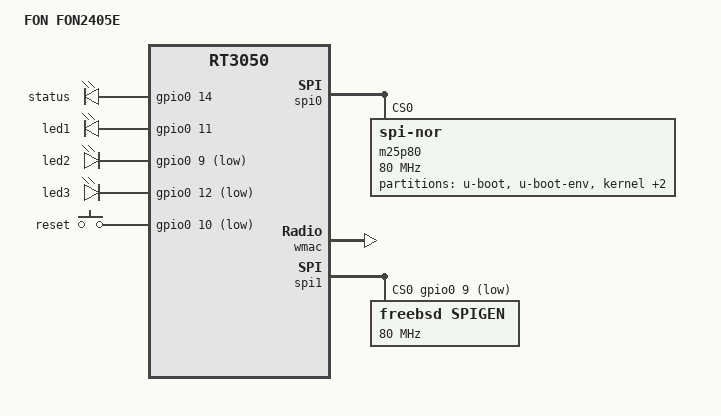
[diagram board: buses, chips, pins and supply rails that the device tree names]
/dts-v1/;

#include <dt-bindings/gpio/tegra-gpio.h>
//#include "rt3050.dtsi"
#include "fbsd-rt3050.dtsi"

/ {
	compatible = "FON2405E", "ralink,rt3050-soc";
	model = "FON FON2405E";

	gpio-leds {
		compatible = "gpio-leds";

		status {
			label = "status";
			gpios = <&gpio0 14 0>;
		};

		led1 {
			label = "led1";
			gpios = <&gpio0 11 0>;
		};

		led2 {
			label = "led2";
			gpios = <&gpio0 9 1>;
		};

		led3 {
			label = "led3";
			gpios = <&gpio0 12 1>;
		};

	};
	gpio-keys-polled {
		compatible = "gpio-keys-polled";
		#address-cells = <1>;
		#size-cells = <0>;
		poll-interval = <20>;

		reset {
			label = "reset";
			gpios = <&gpio0 10 1>;
			linux,code = <0x198>;
		};

	};
};

&spi0 {
	status = "okay";

	m25p80@0 {
		#address-cells = <1>;
		#size-cells = <1>;
		compatible = "jedec,spi-nor";
		reg = <0>;
		linux,modalias = "m25p80", "mx25l3205d";
		spi-max-frequency = <80000000>;

		partition@0 {
			label = "u-boot";
			reg = <0x0 0x10000>;
			read-only;
		};

		partition@10000 {
			label = "u-boot-env";
			reg = <0x10000 0x10000>;
			read-only;
		};

		kernel: partition@20000 {
			label = "kernel";
			reg = <0x20000 0x100000>;
		};
		rootfs: partition@100000 {
			label = "rootfs";
			reg = <0x00120000 0x006e0000>;
		};
/*
		partition@1300000 {
			compatible = "denx,uimage";
			label = "firmware";
			reg = <0x20000 0x7e0000>;
		};
*/
		partition@800000 {
			label = "upgrade";
			reg = <0x20000 0x7e0000>;
		};
	};
};

&pinctrl {
	state_default: pinctrl0 {
		gpio {
			ralink,group = "i2c", "jtag", "uartf", "rgmii", "mdio";
			ralink,function = "gpio";
		};

	};
};

&ethernet {
//	mtd-mac-address = <&factory 0x28>;
};

&esw {
	mediatek,portmap = <0x2f>;
};

&wmac {
//	ralink,mtd-eeprom = <&factory 0>;
};

/*
&otg {
	status = "okay";
};
*/

&spi1 {
	status = "okay";
	cs-gpios = <&gpio0 9 GPIO_ACTIVE_LOW>;
	non-flash;
	spigen@0 {
		compatible = "freebsd,spigen";
		reg = <0>;
		spi-max-frequency = <80000000>;	// SPICLK = 1
		status = "okay";
	};
/*
	m25p80@0 {
		#address-cells = <1>;
		#size-cells = <1>;
		compatible = "jedec,spi-nor";
		reg = <0>;
		linux,modalias = "m25p80", "mx25l3205d";
		spi-max-frequency = <80000000>;
	};
*/
};
